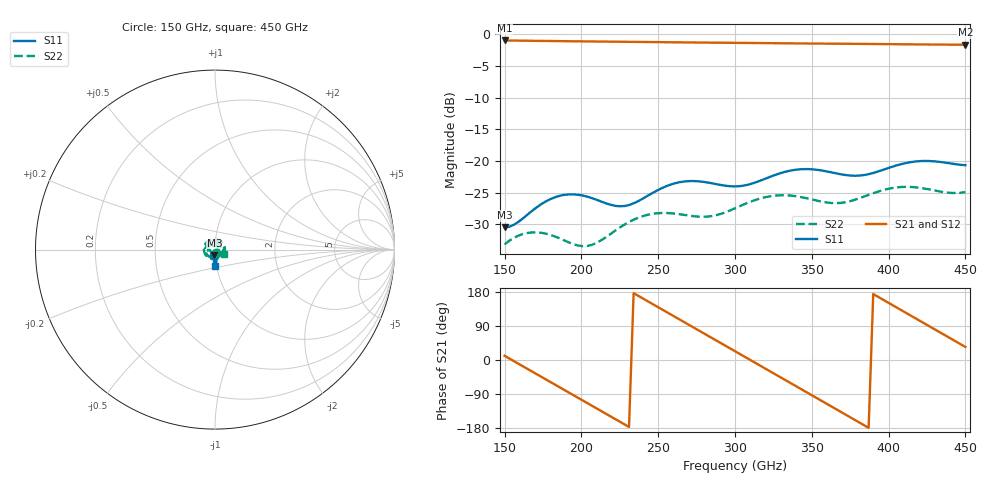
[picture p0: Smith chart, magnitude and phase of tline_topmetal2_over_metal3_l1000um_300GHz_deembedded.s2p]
! Created with skrf 2.0.1 (http://scikit-rf.org).
# GHz S DB R 50.0
!freq dBS11 angS11 dBS21 angS21 dBS12 angS12 dBS22 angS22
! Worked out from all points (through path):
!   101 points, 150 GHz to 450 GHz, reference 50 ohm
!   highest |S21| = -0.95 dB at 150 GHz (marker M1); lowest = -1.6 dB at 450 GHz (marker M2)
!   group delay of S21, straight-line fit = 6.45 ps
!   lowest |S11| = -30.5 dB at 150 GHz (marker M3), VSWR 1.06, Z = 49.6 - j2.94 ohm
!   |S11| at or under -10 dB: start of sweep to end of sweep
!   |S22| runs from -33.5 to -24.1 dB; largest |S21 - S12| = 9.8e-14
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150  -30.52 -96.4  -0.95 11.0  -0.95 11.0  -33.19 -79.1
165  -28.47 -81.0  -0.99 -23.7  -0.99 -23.7  -31.38 -132.1
180  -26.01 -85.2  -1.04 -58.5  -1.04 -58.5  -31.71 169.8
201  -25.48 -99.1  -1.09 -107.1  -1.09 -107.1  -33.47 64.8
216  -26.70 -100.3  -1.13 -141.9  -1.13 -141.9  -32.05 -19.7
228  -27.13 -91.1  -1.15 -169.7  -1.15 -169.7  -30.07 -77.2
240  -25.95 -82.4  -1.18 162.4  -1.18 162.4  -28.72 -128.4
252  -24.34 -82.2  -1.22 134.6  -1.22 134.6  -28.23 -178.3
264  -23.36 -87.4  -1.25 106.7  -1.25 106.7  -28.43 129.2
276  -23.22 -92.9  -1.27 78.9  -1.27 78.9  -28.80 71.6
300  -24.02 -91.2  -1.32 23.2  -1.32 23.2  -27.48 -49.7
321  -22.68 -83.9  -1.37 -25.6  -1.37 -25.6  -25.67 -142.5
336  -21.53 -87.5  -1.40 -60.4  -1.40 -60.4  -25.47 154.5
351  -21.33 -93.6  -1.43 -95.3  -1.43 -95.3  -26.14 87.5
363  -21.81 -95.7  -1.45 -123.1  -1.45 -123.1  -26.65 28.0
378  -22.34 -91.4  -1.48 -158.0  -1.48 -158.0  -26.14 -49.4
390  -21.90 -85.9  -1.50 174.0  -1.50 174.0  -25.10 -106.9
402  -20.95 -84.3  -1.53 146.1  -1.53 146.1  -24.30 -159.8
414  -20.20 -86.9  -1.56 118.2  -1.56 118.2  -24.10 148.8
426  -20.01 -90.9  -1.58 90.3  -1.58 90.3  -24.48 95.5
438  -20.31 -92.9  -1.60 62.4  -1.60 62.4  -25.00 37.6
450  -20.67 -91.0  -1.62 34.4  -1.62 34.4  -24.92 -23.9
